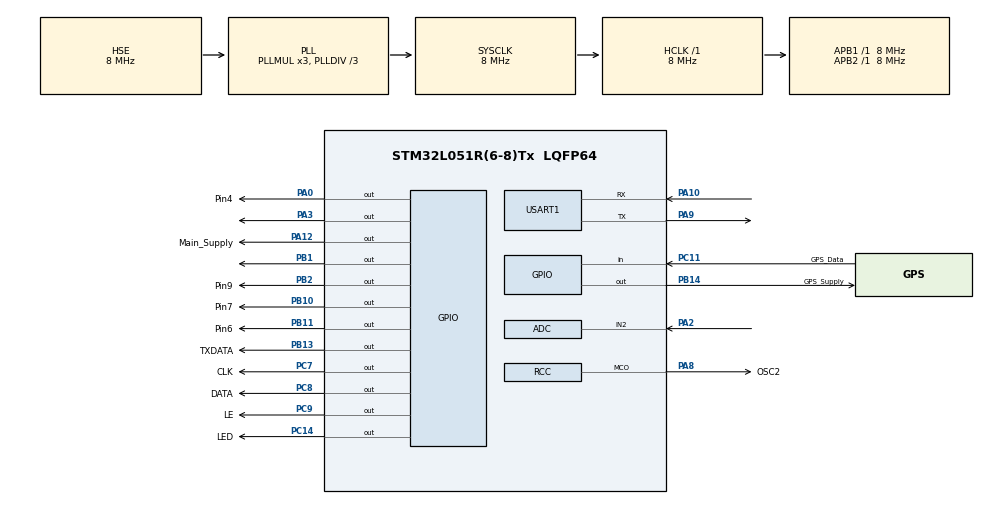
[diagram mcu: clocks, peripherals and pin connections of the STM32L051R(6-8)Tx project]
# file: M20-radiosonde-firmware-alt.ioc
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Mcu.Family=STM32L0
Mcu.Name=STM32L051R(6-8)Tx
Mcu.Package=LQFP64
NVIC.TIM22_IRQn=true\:0\:0\:false\:false\:true\:true\:true\:true
NVIC.TIM6_DAC_IRQn=true\:0\:0\:false\:false\:true\:true\:true\:true
PA0.GPIO_Label=Pin4
PA0.Signal=GPIO_Output
PA10.Mode=Asynchronous
PA10.Signal=USART1_RX
PA12.GPIO_Label=Main_Supply
PA12.Signal=GPIO_Output
PA13.Mode=Serial_Wire
PA13.Signal=SYS_SWDIO
PA14.Mode=Serial_Wire
PA14.Signal=SYS_SWCLK
PA2.Mode=IN2
PA2.Signal=ADC_IN2
PA3.GPIO_Label=Pin13???
PA3.Signal=GPIO_Output
PA8.GPIO_Label=OSC2
PA8.GPIO_Mode=GPIO_MODE_AF_PP
PA8.GPIO_Speed=GPIO_SPEED_FREQ_VERY_HIGH
PA8.Mode=Clock-out
PA8.Signal=RCC_MCO
PA9.Mode=Asynchronous
PA9.Signal=USART1_TX
PB1.GPIO_Label=Pin13????
PB1.Signal=GPIO_Output
PB10.GPIO_Label=Pin7
PB10.Signal=GPIO_Output
PB11.GPIO_Label=Pin6
PB11.Signal=GPIO_Output
PB13.GPIO_Label=TXDATA
PB13.Signal=GPIO_Output
PB14.GPIO_Label=GPS_Supply
PB14.Signal=GPIO_Output
PB2.GPIO_Label=Pin9
PB2.Signal=GPIO_Output
PC11.GPIO_Label=GPS_Data
PC11.Signal=GPIO_Input
PC14-OSC32_IN.GPIO_Label=LED
PC14-OSC32_IN.GPIO_Speed=GPIO_SPEED_FREQ_VERY_HIGH
PC14-OSC32_IN.Signal=GPIO_Output
PC7.GPIO_Label=CLK
PC7.Signal=GPIO_Output
PC8.GPIO_Label=DATA
PC8.Signal=GPIO_Output
PC9.GPIO_Label=LE
PC9.Signal=GPIO_Output
PH0-OSC_IN.Mode=HSE-External-Oscillator
PH0-OSC_IN.Signal=RCC_OSC_IN
PH1-OSC_OUT.Mode=HSE-External-Oscillator
PH1-OSC_OUT.Signal=RCC_OSC_OUT
ProjectManager.HeapSize=0x200
ProjectManager.StackSize=0x400
ProjectManager.TargetToolchain=STM32CubeIDE
RCC.AHBFreq_Value=8000000
RCC.APB1Freq_Value=8000000
RCC.APB1TimFreq_Value=8000000
RCC.APB2Freq_Value=8000000
RCC.APB2TimFreq_Value=8000000
RCC.EnbaleCSS=true
RCC.HCLKFreq_Value=8000000
RCC.HSE_VALUE=8000000
RCC.HSI16_VALUE=16000000
RCC.HSI_VALUE=16000000
RCC.LSE_VALUE=32768
RCC.MSI_VALUE=2097000
RCC.PLLDIV=RCC_PLLDIV_3
RCC.PLLSourceVirtual=RCC_PLLSOURCE_HSE
RCC.SYSCLKFreq_VALUE=8000000
RCC.SYSCLKSource=RCC_SYSCLKSOURCE_PLLCLK
RCC.VCOOutputFreq_Value=24000000
TIM22.Period=10000
TIM22.Prescaler=799
USART1.VirtualMode-Asynchronous=VM_ASYNC
VP_TIM22_VS_ClockSourceINT.Mode=Internal
VP_TIM6_VS_ClockSourceINT.Mode=Enable_Timer
board=custom

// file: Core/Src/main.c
/* USER CODE BEGIN Header */
/**
  ******************************************************************************
  * @file           : main.c
  * @brief          : Main program body
  * @author         : joyel24
  ******************************************************************************
  * @attention
  *
  * Copyright (c) 2023 STMicroelectronics.
  * All rights reserved.
  *
  * This software is licensed under terms that can be found in the LICENSE file
  * in the root directory of this software component.
  * If no LICENSE file comes with this software, it is provided AS-IS.
  *
  ******************************************************************************
  */
/* USER CODE END Header */
#include "main.h"
#include <string.h>

/* USER CODE BEGIN PTD */
volatile uint8_t UartBuffOut[128];
volatile uint8_t UartBuffer[128];
volatile uint8_t UartByte = 0;
volatile uint8_t UartIndex = 0;
/* USER CODE END PTD */

ADC_HandleTypeDef hadc;

TIM_HandleTypeDef htim6;
TIM_HandleTypeDef htim22;

UART_HandleTypeDef huart1;

void SystemClock_Config(void);
static void MX_GPIO_Init(void);
static void MX_ADC_Init(void);
static void MX_TIM22_Init(void);
static void MX_TIM6_Init(void);
static void MX_USART1_UART_Init(void);

/* USER CODE BEGIN 0 */

uint32_t setfreq(float freq, float fPFD, uint8_t prescaler)
{
	float latch = freq / fPFD;
	uint32_t Nint = latch;
	latch = latch - Nint;
	uint32_t Nfrac = latch * 4096;
	uint32_t ret = 0;
	ret = ret | prescaler << 22;
	ret = ret | Nint << 14;
	ret = ret | Nfrac << 2;
	ret = ret | 0b00000001;
	return ret;
}

void myspi(uint32_t datain)
{
	uint32_t data = datain;
	uint32_t delay = 0;
	HAL_GPIO_WritePin(LE_GPIO_Port, LE_Pin, GPIO_PIN_RESET);
	//HAL_GPIO_WritePin(LE_GPIO_Port, LE_Pin, GPIO_PIN_RESET);
	HAL_GPIO_WritePin(DATA_GPIO_Port, DATA_Pin, GPIO_PIN_RESET);
	HAL_GPIO_WritePin(CLK_GPIO_Port, CLK_Pin, GPIO_PIN_RESET);
	//HAL_Delay(delay);
	__HAL_RCC_GPIOA_CLK_ENABLE();
	for (int i = 0; i < 32; i++) {
		HAL_GPIO_WritePin(CLK_GPIO_Port, CLK_Pin, GPIO_PIN_RESET);
		if (data & 0b10000000000000000000000000000000)
		{
			HAL_GPIO_WritePin(DATA_GPIO_Port, DATA_Pin, GPIO_PIN_SET);
		} else {
			HAL_GPIO_WritePin(DATA_GPIO_Port, DATA_Pin, GPIO_PIN_RESET);
		}
	//	HAL_Delay(delay);
		HAL_GPIO_WritePin(CLK_GPIO_Port, CLK_Pin, GPIO_PIN_SET);
		data = data << 1;
	}
	HAL_GPIO_WritePin(LE_GPIO_Port, LE_Pin, GPIO_PIN_SET);
	HAL_GPIO_WritePin(LE_GPIO_Port, LE_Pin, GPIO_PIN_RESET);
	HAL_GPIO_WritePin(CLK_GPIO_Port, CLK_Pin, GPIO_PIN_RESET);

}

void TIM22_test(){
	//for (int a=1; a<20; a++){
		htim22.Instance->CNT = 0;

		//int delai=100;
		HAL_GPIO_WritePin(TXDATA_GPIO_Port, TXDATA_Pin, GPIO_PIN_SET);
		HAL_GPIO_WritePin(LED_GPIO_Port, LED_Pin, GPIO_PIN_SET);

		//printf(htim22.Instance->CNT);

		sprintf(UartBuffOut, ".");
		HAL_UART_Transmit(&huart1, UartBuffOut, strlen(UartBuffOut), 1000);

		//printf("test");
		//sprintf("test2");
		HAL_GPIO_WritePin(TXDATA_GPIO_Port, TXDATA_Pin, GPIO_PIN_RESET);
		HAL_GPIO_WritePin(LED_GPIO_Port, LED_Pin, GPIO_PIN_RESET);

	//}

}
/* USER CODE END 0 */

int main(void)
{

  /* MCU Configuration--------------------------------------------------------*/

  /* Reset of all peripherals, Initializes the Flash interface and the Systick. */
  HAL_Init();

  /* Configure the system clock */
  SystemClock_Config();

  /* Initialize all configured peripherals */
  MX_GPIO_Init();
  MX_ADC_Init();
  MX_TIM22_Init();
  MX_TIM6_Init();
  MX_USART1_UART_Init();
  /* USER CODE BEGIN 2 */
  HAL_GPIO_WritePin(Main_Supply_GPIO_Port, Main_Supply_Pin, GPIO_PIN_SET);
  HAL_GPIO_WritePin(GPS_Supply_GPIO_Port, GPS_Supply_Pin, GPIO_PIN_SET);
  HAL_Delay(100);

  //403,5 MHz
  myspi(0x03c4204c);/* Reg 0 R Register
  Output divider = devide 2 0b01
  VCO Adjustment = Max VCO Adj 0b11
  Clock out divider = 0b1000 = 16
  XOEB = 1 (XTAL Osc Off)
  Crystal doubler OFF
  4bit R div = 0b001 = 1
  11Bit Freq err corr 0b10011
  */
  myspi(0x000c9c01);/*
  Prescaler = 0b0 = 4/5
  8Bits integer N = 0b110010
  12bits factional N = 0b011100000000

  */
  myspi(0x00005fe2);/*
  Modulation register
  Index counter 0b00 16
  GFSK Mod 0b000 0
  Modulation deviation ????
  Power ampli 0b111111
  GOOK 0 = Gaussian OOK = Off
  Mod control 0b00 FSK
  */
  myspi(0x007418af);/*
  PA BIAS 0b111 = 12uA
  VCO BIAS current 0b0100
  LD1 0b0 3 Cycles
  MUXOUT = 0b0011 = Regulator ready
  VCO Disable = 0b0 = VCO ON
  Bleed Down up 0b0 0b0 off off
  Charge pump = 0b10 1.5mA
  Data invert = 0b1 = inverted
  clkout enable = 0b0 = Off
  PA Enable = 0b1 PA on
  PLL Enable = 0b1 PLL On
  */

  myspi(0x03c4204c);
  myspi(setfreq(446150000, 8000000, 0));
  myspi(0x00005fe2);
  myspi(0x007418af);

  if (HAL_TIM_Base_Start_IT(&htim22) != HAL_OK)
   {
     /* Starting Error */
     Error_Handler();
   }

  /* USER CODE END 2 */

  /* Infinite loop */
  /* USER CODE BEGIN WHILE */
  while (1)
  {
	  //HAL_GPIO_WritePin(TXDATA_GPIO_Port, TXDATA_Pin, HAL_GPIO_ReadPin(GPS_Data_GPIO_Port, GPS_Data_Pin));
	  //HAL_GPIO_WritePin(LED_GPIO_Port, LED_Pin, !HAL_GPIO_ReadPin(GPS_Data_GPIO_Port, GPS_Data_Pin));
	  //HAL_GPIO_WritePin(LED_GPIO_Port, LED_Pin, GPIO_PIN_SET);
	  //HAL_GPIO_TogglePin(TXDATA_GPIO_Port, TXDATA_Pin);
	  //HAL_GPIO_TogglePin(LED_GPIO_Port, LED_Pin);
	  //HAL_Delay(100);
	  /*
	  for (uint32_t i = 0; i < 1000; i++)
	  {
		  myspi(setfreq(446100000 + 0 * 1000, 8000000, 0));
		  HAL_Delay(500);
	  }
	  */
    /* USER CODE END WHILE */

  }
}

void SystemClock_Config(void)
{
  RCC_OscInitTypeDef RCC_OscInitStruct = {0};
  RCC_ClkInitTypeDef RCC_ClkInitStruct = {0};
  RCC_PeriphCLKInitTypeDef PeriphClkInit = {0};

  /** Configure the main internal regulator output voltage
  */
  __HAL_PWR_VOLTAGESCALING_CONFIG(PWR_REGULATOR_VOLTAGE_SCALE1);

  /** Initializes the RCC Oscillators according to the specified parameters
  * in the RCC_OscInitTypeDef structure.
  */
  RCC_OscInitStruct.OscillatorType = RCC_OSCILLATORTYPE_HSE;
  RCC_OscInitStruct.HSEState = RCC_HSE_ON;
  RCC_OscInitStruct.PLL.PLLState = RCC_PLL_ON;
  RCC_OscInitStruct.PLL.PLLSource = RCC_PLLSOURCE_HSE;
  RCC_OscInitStruct.PLL.PLLMUL = RCC_PLLMUL_3;
  RCC_OscInitStruct.PLL.PLLDIV = RCC_PLLDIV_3;
  if (HAL_RCC_OscConfig(&RCC_OscInitStruct) != HAL_OK)
  {
    Error_Handler();
  }

  /** Initializes the CPU, AHB and APB buses clocks
  */
  RCC_ClkInitStruct.ClockType = RCC_CLOCKTYPE_HCLK|RCC_CLOCKTYPE_SYSCLK
                              |RCC_CLOCKTYPE_PCLK1|RCC_CLOCKTYPE_PCLK2;
  RCC_ClkInitStruct.SYSCLKSource = RCC_SYSCLKSOURCE_PLLCLK;
  RCC_ClkInitStruct.AHBCLKDivider = RCC_SYSCLK_DIV1;
  RCC_ClkInitStruct.APB1CLKDivider = RCC_HCLK_DIV1;
  RCC_ClkInitStruct.APB2CLKDivider = RCC_HCLK_DIV1;

  if (HAL_RCC_ClockConfig(&RCC_ClkInitStruct, FLASH_LATENCY_0) != HAL_OK)
  {
    Error_Handler();
  }
  PeriphClkInit.PeriphClockSelection = RCC_PERIPHCLK_USART1;
  PeriphClkInit.Usart1ClockSelection = RCC_USART1CLKSOURCE_PCLK2;
  if (HAL_RCCEx_PeriphCLKConfig(&PeriphClkInit) != HAL_OK)
  {
    Error_Handler();
  }
  HAL_RCC_MCOConfig(RCC_MCO1, RCC_MCO1SOURCE_SYSCLK, RCC_MCODIV_1);

  /** Enables the Clock Security System
  */
  HAL_RCC_EnableCSS();
}

static void MX_ADC_Init(void)
{

  ADC_ChannelConfTypeDef sConfig = {0};

  /** Configure the global features of the ADC (Clock, Resolution, Data Alignment and number of conversion)
  */
  hadc.Instance = ADC1;
  hadc.Init.OversamplingMode = DISABLE;
  hadc.Init.ClockPrescaler = ADC_CLOCK_SYNC_PCLK_DIV1;
  hadc.Init.Resolution = ADC_RESOLUTION_12B;
  hadc.Init.SamplingTime = ADC_SAMPLETIME_1CYCLE_5;
  hadc.Init.ScanConvMode = ADC_SCAN_DIRECTION_FORWARD;
  hadc.Init.DataAlign = ADC_DATAALIGN_RIGHT;
  hadc.Init.ContinuousConvMode = DISABLE;
  hadc.Init.DiscontinuousConvMode = DISABLE;
  hadc.Init.ExternalTrigConvEdge = ADC_EXTERNALTRIGCONVEDGE_NONE;
  hadc.Init.ExternalTrigConv = ADC_SOFTWARE_START;
  hadc.Init.DMAContinuousRequests = DISABLE;
  hadc.Init.EOCSelection = ADC_EOC_SINGLE_CONV;
  hadc.Init.Overrun = ADC_OVR_DATA_PRESERVED;
  hadc.Init.LowPowerAutoWait = DISABLE;
  hadc.Init.LowPowerFrequencyMode = DISABLE;
  hadc.Init.LowPowerAutoPowerOff = DISABLE;
  if (HAL_ADC_Init(&hadc) != HAL_OK)
  {
    Error_Handler();
  }

  /** Configure for the selected ADC regular channel to be converted.
  */
  sConfig.Channel = ADC_CHANNEL_2;
  sConfig.Rank = ADC_RANK_CHANNEL_NUMBER;
  if (HAL_ADC_ConfigChannel(&hadc, &sConfig) != HAL_OK)
  {
    Error_Handler();
  }

}

static void MX_TIM6_Init(void)
{

  TIM_MasterConfigTypeDef sMasterConfig = {0};

  htim6.Instance = TIM6;
  htim6.Init.Prescaler = 0;
  htim6.Init.CounterMode = TIM_COUNTERMODE_UP;
  htim6.Init.Period = 65535;
  htim6.Init.AutoReloadPreload = TIM_AUTORELOAD_PRELOAD_DISABLE;
  if (HAL_TIM_Base_Init(&htim6) != HAL_OK)
  {
    Error_Handler();
  }
  sMasterConfig.MasterOutputTrigger = TIM_TRGO_RESET;
  sMasterConfig.MasterSlaveMode = TIM_MASTERSLAVEMODE_DISABLE;
  if (HAL_TIMEx_MasterConfigSynchronization(&htim6, &sMasterConfig) != HAL_OK)
  {
    Error_Handler();
  }

}

static void MX_TIM22_Init(void)
{

  TIM_ClockConfigTypeDef sClockSourceConfig = {0};
  TIM_MasterConfigTypeDef sMasterConfig = {0};

  htim22.Instance = TIM22;
  htim22.Init.Prescaler = 799;
  htim22.Init.CounterMode = TIM_COUNTERMODE_UP;
  htim22.Init.Period = 10000;
  htim22.Init.ClockDivision = TIM_CLOCKDIVISION_DIV1;
  htim22.Init.AutoReloadPreload = TIM_AUTORELOAD_PRELOAD_DISABLE;
  if (HAL_TIM_Base_Init(&htim22) != HAL_OK)
  {
    Error_Handler();
  }
  sClockSourceConfig.ClockSource = TIM_CLOCKSOURCE_INTERNAL;
  if (HAL_TIM_ConfigClockSource(&htim22, &sClockSourceConfig) != HAL_OK)
  {
    Error_Handler();
  }
  sMasterConfig.MasterOutputTrigger = TIM_TRGO_RESET;
  sMasterConfig.MasterSlaveMode = TIM_MASTERSLAVEMODE_DISABLE;
  if (HAL_TIMEx_MasterConfigSynchronization(&htim22, &sMasterConfig) != HAL_OK)
  {
    Error_Handler();
  }

}

static void MX_USART1_UART_Init(void)
{

  huart1.Instance = USART1;
  huart1.Init.BaudRate = 115200;
  huart1.Init.WordLength = UART_WORDLENGTH_8B;
  huart1.Init.StopBits = UART_STOPBITS_1;
  huart1.Init.Parity = UART_PARITY_NONE;
  huart1.Init.Mode = UART_MODE_TX_RX;
  huart1.Init.HwFlowCtl = UART_HWCONTROL_NONE;
  huart1.Init.OverSampling = UART_OVERSAMPLING_16;
  huart1.Init.OneBitSampling = UART_ONE_BIT_SAMPLE_DISABLE;
  huart1.AdvancedInit.AdvFeatureInit = UART_ADVFEATURE_NO_INIT;
  if (HAL_UART_Init(&huart1) != HAL_OK)
  {
    Error_Handler();
  }

}

static void MX_GPIO_Init(void)
{
  GPIO_InitTypeDef GPIO_InitStruct = {0};

  /* GPIO Ports Clock Enable */
  __HAL_RCC_GPIOC_CLK_ENABLE();
  __HAL_RCC_GPIOH_CLK_ENABLE();
  __HAL_RCC_GPIOA_CLK_ENABLE();
  __HAL_RCC_GPIOB_CLK_ENABLE();

  /*Configure GPIO pin Output Level */
  HAL_GPIO_WritePin(GPIOC, LED_Pin|CLK_Pin|DATA_Pin|LE_Pin, GPIO_PIN_RESET);

  /*Configure GPIO pin Output Level */
  HAL_GPIO_WritePin(GPIOA, Pin4_Pin|Pin13____Pin|Main_Supply_Pin, GPIO_PIN_RESET);

  /*Configure GPIO pin Output Level */
  HAL_GPIO_WritePin(GPIOB, Pin13_____Pin|Pin9_Pin|Pin7_Pin|Pin6_Pin
                          |TXDATA_Pin|GPS_Supply_Pin, GPIO_PIN_RESET);

  /*Configure GPIO pin : LED_Pin */
  GPIO_InitStruct.Pin = LED_Pin;
  GPIO_InitStruct.Mode = GPIO_MODE_OUTPUT_PP;
  GPIO_InitStruct.Pull = GPIO_NOPULL;
  GPIO_InitStruct.Speed = GPIO_SPEED_FREQ_VERY_HIGH;
  HAL_GPIO_Init(LED_GPIO_Port, &GPIO_InitStruct);

  /*Configure GPIO pins : Pin4_Pin Pin13____Pin Main_Supply_Pin */
  GPIO_InitStruct.Pin = Pin4_Pin|Pin13____Pin|Main_Supply_Pin;
  GPIO_InitStruct.Mode = GPIO_MODE_OUTPUT_PP;
  GPIO_InitStruct.Pull = GPIO_NOPULL;
  GPIO_InitStruct.Speed = GPIO_SPEED_FREQ_LOW;
  HAL_GPIO_Init(GPIOA, &GPIO_InitStruct);

  /*Configure GPIO pins : Pin13_____Pin Pin9_Pin Pin7_Pin Pin6_Pin
                           TXDATA_Pin GPS_Supply_Pin */
  GPIO_InitStruct.Pin = Pin13_____Pin|Pin9_Pin|Pin7_Pin|Pin6_Pin
                          |TXDATA_Pin|GPS_Supply_Pin;
  GPIO_InitStruct.Mode = GPIO_MODE_OUTPUT_PP;
  GPIO_InitStruct.Pull = GPIO_NOPULL;
  GPIO_InitStruct.Speed = GPIO_SPEED_FREQ_LOW;
  HAL_GPIO_Init(GPIOB, &GPIO_InitStruct);

  /*Configure GPIO pins : CLK_Pin DATA_Pin LE_Pin */
  GPIO_InitStruct.Pin = CLK_Pin|DATA_Pin|LE_Pin;
  GPIO_InitStruct.Mode = GPIO_MODE_OUTPUT_PP;
  GPIO_InitStruct.Pull = GPIO_NOPULL;
  GPIO_InitStruct.Speed = GPIO_SPEED_FREQ_LOW;
  HAL_GPIO_Init(GPIOC, &GPIO_InitStruct);

  /*Configure GPIO pin : OSC2_Pin */
  GPIO_InitStruct.Pin = OSC2_Pin;
  GPIO_InitStruct.Mode = GPIO_MODE_AF_PP;
  GPIO_InitStruct.Pull = GPIO_NOPULL;
  GPIO_InitStruct.Speed = GPIO_SPEED_FREQ_VERY_HIGH;
  GPIO_InitStruct.Alternate = GPIO_AF0_MCO;
  HAL_GPIO_Init(OSC2_GPIO_Port, &GPIO_InitStruct);

  /*Configure GPIO pin : GPS_Data_Pin */
  GPIO_InitStruct.Pin = GPS_Data_Pin;
  GPIO_InitStruct.Mode = GPIO_MODE_INPUT;
  GPIO_InitStruct.Pull = GPIO_NOPULL;
  HAL_GPIO_Init(GPS_Data_GPIO_Port, &GPIO_InitStruct);

}

void Error_Handler(void)
{
  __disable_irq();
  while (1)
  {
  }
}
